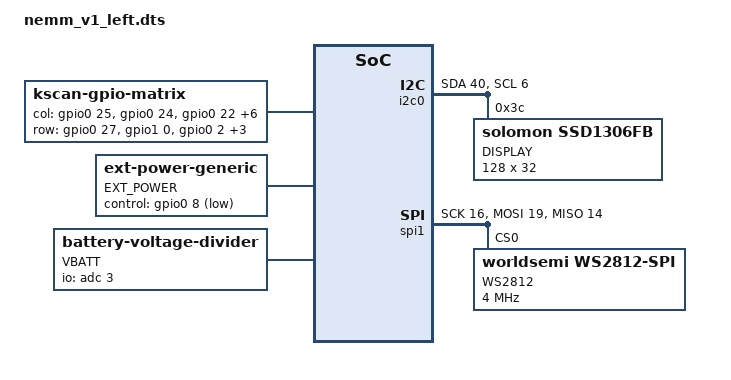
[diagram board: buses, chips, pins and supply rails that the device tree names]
/*
 * Copyright (c) 2022 kien242
 *
 * SPDX-License-Identifier: MIT
 */

#include "nemm_v1.dts"

    / {
        chosen {
            zmk,underglow = &led_strip;
            zmk,battery = &vbatt;
            zephyr,display = &oled;
        };
    
        kscan0: kscan_0 {
            compatible = "zmk,kscan-gpio-matrix";
            label = "KSCAN";
            diode-direction = "col2row";
    
            col-gpios
                = <&gpio0 25 GPIO_ACTIVE_HIGH>
                , <&gpio0 24 GPIO_ACTIVE_HIGH>
                , <&gpio0 22 GPIO_ACTIVE_HIGH>
                , <&gpio0 20 GPIO_ACTIVE_HIGH>
                , <&gpio0 23 GPIO_ACTIVE_HIGH>
                , <&gpio0 21 GPIO_ACTIVE_HIGH>
                , <&gpio0 17 GPIO_ACTIVE_HIGH>
                , <&gpio0 15 GPIO_ACTIVE_HIGH>
                , <&gpio0 13 GPIO_ACTIVE_HIGH>
                ;
    
            row-gpios
                = <&gpio0 27 (GPIO_ACTIVE_HIGH | GPIO_PULL_DOWN)>
                , <&gpio1 0  (GPIO_ACTIVE_HIGH | GPIO_PULL_DOWN)>
                , <&gpio0 2  (GPIO_ACTIVE_HIGH | GPIO_PULL_DOWN)>
                , <&gpio0 29 (GPIO_ACTIVE_HIGH | GPIO_PULL_DOWN)>
                , <&gpio0 28 (GPIO_ACTIVE_HIGH | GPIO_PULL_DOWN)>
                , <&gpio0 30 (GPIO_ACTIVE_HIGH | GPIO_PULL_DOWN)>
                ;
        };
    
        ext-power {
            compatible = "zmk,ext-power-generic";
            label = "EXT_POWER";
            control-gpios = <&gpio0 8 GPIO_ACTIVE_LOW>;   /*0.08*/
        };
    
        vbatt: vbatt {
            compatible = "zmk,battery-voltage-divider";
            label = "VBATT";
            io-channels = <&adc 3>;
            output-ohms = <10000000>;
		    full-ohms   = <(10000000 + 4000000)>;
        };
    };
    
&i2c0 {
 	sda-pin = <40>;
	scl-pin = <6>;
	status = "okay";
    
	oled: ssd1306@3c {
		compatible = "solomon,ssd1306fb";
		reg = <0x3c>;
		label = "DISPLAY";
		width = <128>;
		height = <32>;
		segment-offset = <0>;
		page-offset = <0>;
		display-offset = <0>;
		multiplex-ratio = <31>;
		//segment-remap;
		//com-invdir;
		com-sequential;
		prechargep = <0x22>;
	};
     };
    
    &spi1 {
        status = "okay";
    
        mosi-pin = <19>;
        
        // Unused pins, needed for SPI definition, but not used by the ws2812 driver itself.
        sck-pin = <16>;
        miso-pin = <14>;
    
        led_strip: ws2812@0 {
            compatible = "worldsemi,ws2812-spi";
            label = "WS2812";
    
            /* SPI */
            reg = <0>; /* ignored, but necessary for SPI bindings */
            spi-max-frequency = <4000000>;
    
            /* WS2812 */
            chain-length = <8>; /* LED strip length */
            spi-one-frame = <0x70>;
            spi-zero-frame = <0x40>;
            color-mapping = <LED_COLOR_ID_GREEN LED_COLOR_ID_RED LED_COLOR_ID_BLUE>;
        };
    };
